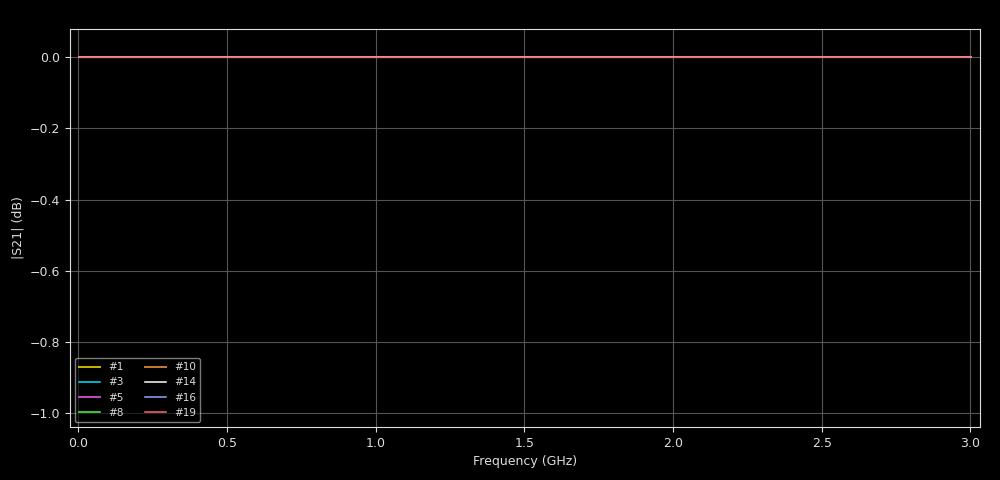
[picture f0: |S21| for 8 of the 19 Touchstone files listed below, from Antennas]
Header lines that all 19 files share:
!Keysight Technologies N9923A: A.08.09
!Timezone: (GMT+08:00) Kuala Lumpur, Singapore
!Model: N9923A
!Serial: MY52412143
!GPS Latitude:
!GPS Longitude:
!GPS TimeStamp: 0001-01-01 00:00:00Z
!GPS Seconds Since Last Read: 0
!Correction: S11(ON U)S21()S12()S22()
!S2P File: Measurements:S11,S21,S12,S22:
# Hz S DB R 50
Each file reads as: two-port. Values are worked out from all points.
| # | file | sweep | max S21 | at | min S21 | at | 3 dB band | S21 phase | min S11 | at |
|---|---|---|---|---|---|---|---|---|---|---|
| 1 | UHF_GRASS_H43.s2p | 5 MHz to 2.005 GHz | 0.00 dB | 5 MHz | 0.0 dB | 5 MHz | 5 MHz-2.005 GHz | 0 deg at 1.006 GHz | -20.9 dB | 987.5 MHz |
| 2 | UHF_GRASS_H57.s2p | 5 MHz to 2.005 GHz | 0.00 dB | 5 MHz | 0.0 dB | 5 MHz | 5 MHz-2.005 GHz | 0 deg at 1.006 GHz | -20.8 dB | 1.001 GHz |
| 3 | UHF_GRASS_V43.s2p | 5 MHz to 2.005 GHz | 0.00 dB | 5 MHz | 0.0 dB | 5 MHz | 5 MHz-2.005 GHz | 0 deg at 1.006 GHz | -18.6 dB | 952.5 MHz |
| 4 | UHF_GRASS_V57.s2p | 5 MHz to 2.005 GHz | 0.00 dB | 5 MHz | 0.0 dB | 5 MHz | 5 MHz-2.005 GHz | 0 deg at 1.006 GHz | -18.7 dB | 958.5 MHz |
| 5 | UHF_ROCK_H43.s2p | 5 MHz to 2.005 GHz | 0.00 dB | 5 MHz | 0.0 dB | 5 MHz | 5 MHz-2.005 GHz | 0 deg at 1.006 GHz | -20.9 dB | 986.5 MHz |
| 6 | UHF_ROCK_H57.s2p | 5 MHz to 2.005 GHz | 0.00 dB | 5 MHz | 0.0 dB | 5 MHz | 5 MHz-2.005 GHz | 0 deg at 1.006 GHz | -20.7 dB | 983.5 MHz |
| 7 | UHF_ROCK_V57.s2p | 5 MHz to 2.005 GHz | 0.00 dB | 5 MHz | 0.0 dB | 5 MHz | 5 MHz-2.005 GHz | 0 deg at 1.006 GHz | -18.4 dB | 946.5 MHz |
| 8 | VHF_GRASS_H49.s2p | 2 MHz to 3.002 GHz | 0.00 dB | 2 MHz | 0.0 dB | 2 MHz | 2 MHz-3.002 GHz | 0 deg at 1.503 GHz | -50.5 dB | 722.2 MHz |
| 9 | VHF_GRASS_H62.s2p | 2 MHz to 3.002 GHz | 0.00 dB | 2 MHz | 0.0 dB | 2 MHz | 2 MHz-3.002 GHz | 0 deg at 1.503 GHz | -44.8 dB | 722.2 MHz |
| 10 | VHF_GRASS_H64.s2p | 2 MHz to 3.002 GHz | 0.00 dB | 2 MHz | 0.0 dB | 2 MHz | 2 MHz-3.002 GHz | 0 deg at 1.503 GHz | -51.5 dB | 719.2 MHz |
| 11 | VHF_GRASS_V49.s2p | 2 MHz to 3.002 GHz | 0.00 dB | 2 MHz | 0.0 dB | 2 MHz | 2 MHz-3.002 GHz | 0 deg at 1.503 GHz | -51.5 dB | 721.2 MHz |
| 12 | VHF_GRASS_V62.s2p | 2 MHz to 3.002 GHz | 0.00 dB | 2 MHz | 0.0 dB | 2 MHz | 2 MHz-3.002 GHz | 0 deg at 1.503 GHz | -42.8 dB | 720.2 MHz |
| 13 | VHF_GRASS_V64.s2p | 2 MHz to 3.002 GHz | 0.00 dB | 2 MHz | 0.0 dB | 2 MHz | 2 MHz-3.002 GHz | 0 deg at 1.503 GHz | -51.5 dB | 719.2 MHz |
| 14 | VHF_ROCK_H49.s2p | 2 MHz to 3.002 GHz | 0.00 dB | 2 MHz | 0.0 dB | 2 MHz | 2 MHz-3.002 GHz | 0 deg at 1.503 GHz | -66.5 dB | 2.897 GHz |
| 15 | VHF_ROCK_H62.s2p | 2 MHz to 3.002 GHz | 0.00 dB | 2 MHz | 0.0 dB | 2 MHz | 2 MHz-3.002 GHz | 0 deg at 1.503 GHz | -47.1 dB | 717.2 MHz |
| 16 | VHF_ROCK_H64.s2p | 2 MHz to 3.002 GHz | 0.00 dB | 2 MHz | 0.0 dB | 2 MHz | 2 MHz-3.002 GHz | 0 deg at 1.503 GHz | -47.8 dB | 717.2 MHz |
| 17 | VHF_ROCK_V49.s2p | 2 MHz to 3.002 GHz | 0.00 dB | 2 MHz | 0.0 dB | 2 MHz | 2 MHz-3.002 GHz | 0 deg at 1.503 GHz | -43.1 dB | 2.922 GHz |
| 18 | VHF_ROCK_V62.s2p | 2 MHz to 3.002 GHz | 0.00 dB | 2 MHz | 0.0 dB | 2 MHz | 2 MHz-3.002 GHz | 0 deg at 1.503 GHz | -44.2 dB | 715.2 MHz |
| 19 | VHF_ROCK_V64.s2p | 2 MHz to 3.002 GHz | 0.00 dB | 2 MHz | 0.0 dB | 2 MHz | 2 MHz-3.002 GHz | 0 deg at 1.503 GHz | -40.9 dB | 716.2 MHz |
